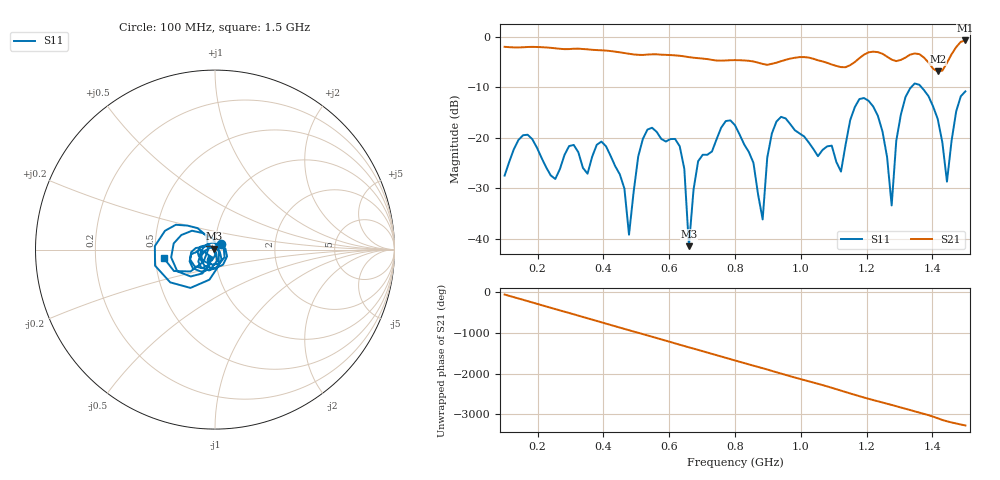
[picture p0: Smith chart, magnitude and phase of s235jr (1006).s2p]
! NanoVNA-App
! Date: 2025-09-25 15:12:00
! Start: 100MHz Stop: 1,5GHz Points: 101
! S-Parameter data: F S11 S21 S12 S22
# Hz S RI R 50
!  Frequency  S11_Real  S11_Imag  S21_Real  S21_Imag  S12_Real  S12_Imag  S22_Real  S22_Imag
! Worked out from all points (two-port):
!   101 points, 100 MHz to 1.5 GHz, reference 50 ohm
!   highest |S21| = -0.71 dB at 1.5 GHz (marker M1); lowest = -6.8 dB at 1.416 GHz (marker M2)
!   |S21| within 3 dB of the highest: start of sweep to 626.1 MHz; 1.188 GHz to 1.257 GHz (68.72 MHz wide, 5.62 % of centre) (the widest 2 of 4)
!   lowest |S11| = -41.4 dB at 660 MHz (marker M3), VSWR 1.02, Z = 49.4 + j0.572 ohm
!   |S11| at or under -10 dB: start of sweep to 1.335 GHz; 1.367 GHz to end of sweep
!   S12 and S22 are empty: the file has one direction only
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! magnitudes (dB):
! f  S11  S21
! 100 MHz  -27.5  -2.0
! 170 MHz  -19.4  -2.0
! 338 MHz  -25.9  -2.4
! 408 MHz  -21.7  -2.7
! 478 MHz  -39.2  -3.3
! 520 MHz  -20.2  -3.6
! 576 MHz  -20.2  -3.5
! 632 MHz  -21.7  -3.7
! 660 MHz  -41.4  -4.0
! 688 MHz  -24.6  -4.2
! 800 MHz  -17.5  -4.6
! 884 MHz  -36.1  -5.4
! 926 MHz  -16.8  -5.1
! 1.038 GHz  -22.2  -4.3
! 1.122 GHz  -26.7  -6.0
! 1.206 GHz  -12.7  -3.1
! 1.276 GHz  -33.4  -4.5
! 1.29 GHz  -20.6  -4.8
! 1.332 GHz  -10.2  -3.5
! 1.416 GHz  -16.3  -6.8
! 1.444 GHz  -28.7  -5.1
! 1.5 GHz  -10.8  -0.7
